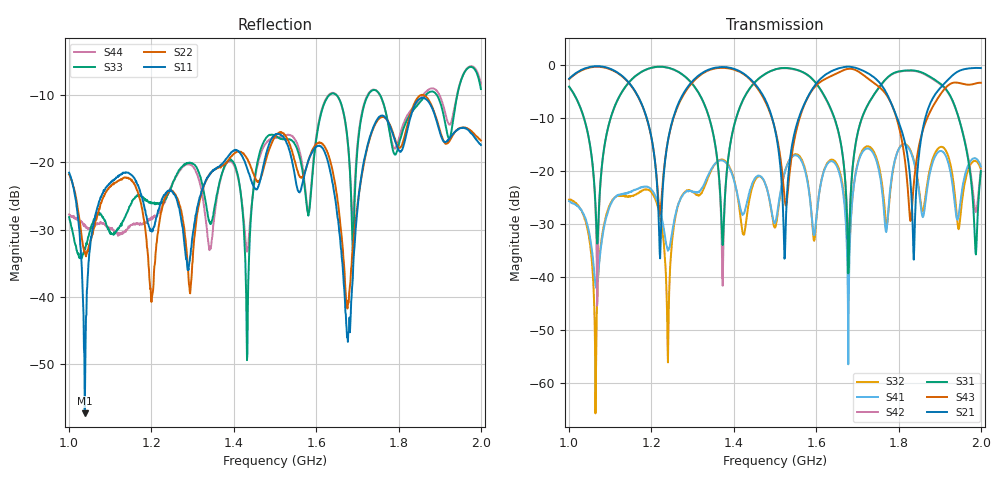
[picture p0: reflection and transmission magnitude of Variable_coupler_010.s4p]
#  HZ  S  DB  R  50.00
! Rohde & Schwarz Vector Network Analyzer
! Rohde-Schwarz,ZNB8-4Port,1311601044102961,2.82
! Created: UTC 1/17/2019, 3:08:38 PM
! freq[Hz]  db:S11  ang:S11  db:S12  ang:S12  db:S13  ang:S13  db:S14  ang:S14
!  db:S21  ang:S21  db:S22  ang:S22  db:S23  ang:S23  db:S24  ang:S24
!  db:S31  ang:S31  db:S32  ang:S32  db:S33  ang:S33  db:S34  ang:S34
!  db:S41  ang:S41  db:S42  ang:S42  db:S43  ang:S43  db:S44  ang:S44
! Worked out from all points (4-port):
!   1001 points, 1 GHz to 2 GHz, reference 50 ohm
!   strongest paths, dB at 1 GHz, 1.25 GHz, 1.5 GHz, 1.75 GHz, 2 GHz:
!     S21: -2.7, -10.8, -12.2, -3.1, -0.6
!     S43: -2.7, -11.0, -12.1, -4.0, -3.4
!     S31: -4.1, -0.8, -0.9, -4.6, -20.1
!     S42: -4.2, -0.8, -0.9, -4.6, -19.9
!     S41: -25.8, -31.8, -29.9, -19.2, -19.2
!     S32: -25.5, -33.3, -30.7, -18.5, -19.8
!   lowest |S11| = -57.2 dB at 1.038 GHz (marker M1), VSWR 1.00, Z = 50 + j0.135 ohm
!   |S11| at or under -10 dB: start of sweep to end of sweep
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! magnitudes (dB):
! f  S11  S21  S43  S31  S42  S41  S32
! 1 GHz  -21.6  -2.7  -2.7  -4.1  -4.2  -25.8  -25.5
! 1.038 GHz  -57.2  -0.7  -0.8  -10.6  -10.6  -28.7  -29.2
! 1.221 GHz  -26.2  -36.6  -28.2  -0.4  -0.4  -27.5  -28.6
! 1.373 GHz  -20.2  -0.4  -0.6  -34.1  -41.7  -18.1  -17.9
! 1.523 GHz  -16.6  -36.6  -24.9  -0.6  -0.7  -20.5  -20.5
! 1.678 GHz  -45.3  -0.4  -0.8  -39.4  -33.8  -56.5  -36.7
! 2 GHz  -17.5  -0.6  -3.4  -20.1  -19.9  -19.2  -19.8
